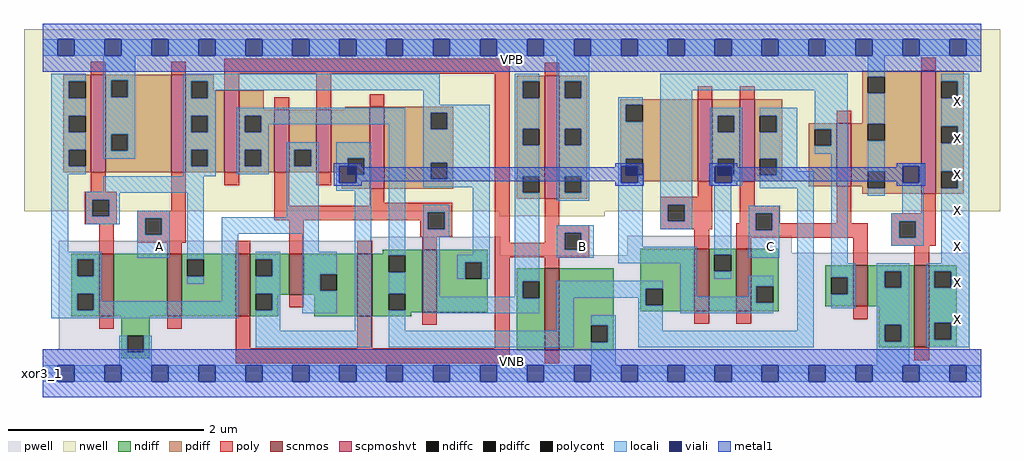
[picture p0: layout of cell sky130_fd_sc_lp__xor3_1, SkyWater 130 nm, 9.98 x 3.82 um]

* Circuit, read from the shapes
.subckt sky130_fd_sc_lp__xor3_1 A B C VGND VNB VPB VPWR X
XM1 VGND n1 n2 VNB sky130_fd_pr__nfet_01v8 w=0.64 l=0.15
XM2 n1 A VGND VNB sky130_fd_pr__nfet_01v8 w=0.64 l=0.15
XM3 n3 B n1 VNB sky130_fd_pr__nfet_01v8 w=0.64 l=0.15
XM4 n2 n4 n3 VNB sky130_fd_pr__nfet_01v8 w=0.42 l=0.15
XM5 n5 B n2 VNB sky130_fd_pr__nfet_01v8 w=0.64 l=0.15
XM6 n1 n4 n5 VNB sky130_fd_pr__nfet_01v8 w=0.64 l=0.15
XM7 VGND B n4 VNB sky130_fd_pr__nfet_01v8 w=0.84 l=0.15
XM8 n6 n7 n5 VNB sky130_fd_pr__nfet_01v8 w=0.64 l=0.15
XM9 n3 C n6 VNB sky130_fd_pr__nfet_01v8 w=0.64 l=0.15
XM10 VGND C n7 VNB sky130_fd_pr__nfet_01v8 w=0.42 l=0.15
XM11 X n6 VGND VNB sky130_fd_pr__nfet_01v8 w=0.84 l=0.15
XM12 VPWR n1 n2 VPB sky130_fd_pr__pfet_01v8_hvt w=1 l=0.15
XM13 n1 A VPWR VPB sky130_fd_pr__pfet_01v8_hvt w=1 l=0.15
XM14 n5 B n1 VPB sky130_fd_pr__pfet_01v8_hvt w=0.84 l=0.15
XM15 n2 n4 n5 VPB sky130_fd_pr__pfet_01v8_hvt w=0.64 l=0.15
XM16 n3 B n2 VPB sky130_fd_pr__pfet_01v8_hvt w=0.64 l=0.15
XM17 n1 n4 n3 VPB sky130_fd_pr__pfet_01v8_hvt w=0.84 l=0.15
XM18 VPWR B n4 VPB sky130_fd_pr__pfet_01v8_hvt w=1.26 l=0.15
XM19 n6 n7 n3 VPB sky130_fd_pr__pfet_01v8_hvt w=0.84 l=0.15
XM20 n5 C n6 VPB sky130_fd_pr__pfet_01v8_hvt w=0.84 l=0.15
XM21 VPWR C n7 VPB sky130_fd_pr__pfet_01v8_hvt w=0.64 l=0.15
XM22 X n6 VPWR VPB sky130_fd_pr__pfet_01v8_hvt w=1.26 l=0.15
.ends

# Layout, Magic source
magic
tech sky130A
magscale 1 2
<< nwell >>
rect -38 331 1958 704
rect 934 321 1150 331
<< pwell >>
rect 670 271 936 279
rect 33 241 936 271
rect 1196 247 1532 281
rect 1196 241 1896 247
rect 33 49 1896 241
rect 0 0 1920 49
<< scnmos >>
rect 116 117 146 245
rect 255 117 285 245
rect 395 117 425 245
rect 504 161 534 245
rect 644 117 674 245
rect 776 125 806 253
rect 1027 47 1057 215
rect 1333 127 1363 255
rect 1419 127 1449 255
rect 1658 137 1688 221
rect 1783 53 1813 221
<< scpmoshvt >>
rect 99 411 129 611
rect 263 411 293 611
rect 372 411 402 579
rect 474 411 504 539
rect 560 411 590 539
rect 669 377 699 545
rect 1027 357 1057 609
rect 1340 393 1370 561
rect 1426 393 1456 561
rect 1624 383 1654 511
rect 1797 367 1827 619
<< ndiff >>
rect 696 245 776 253
rect 59 233 116 245
rect 59 199 71 233
rect 105 199 116 233
rect 59 163 116 199
rect 59 129 71 163
rect 105 129 116 163
rect 59 117 116 129
rect 146 117 255 245
rect 285 233 395 245
rect 285 199 296 233
rect 330 199 395 233
rect 285 117 395 199
rect 425 233 504 245
rect 425 199 436 233
rect 470 199 504 233
rect 425 163 504 199
rect 425 129 436 163
rect 470 161 504 163
rect 534 203 644 245
rect 534 169 568 203
rect 602 169 644 203
rect 534 161 644 169
rect 470 129 482 161
rect 425 117 482 129
rect 556 117 644 161
rect 674 241 776 245
rect 674 207 708 241
rect 742 207 776 241
rect 674 163 776 207
rect 674 129 708 163
rect 742 129 776 163
rect 674 125 776 129
rect 806 227 910 253
rect 806 193 864 227
rect 898 193 910 227
rect 806 125 910 193
rect 674 117 754 125
rect 161 77 219 117
rect 161 43 173 77
rect 207 43 219 77
rect 161 31 219 43
rect 970 188 1027 215
rect 970 154 982 188
rect 1016 154 1027 188
rect 970 47 1027 154
rect 1057 98 1168 215
rect 1222 173 1333 255
rect 1222 139 1234 173
rect 1268 139 1333 173
rect 1222 127 1333 139
rect 1363 243 1419 255
rect 1363 209 1374 243
rect 1408 209 1419 243
rect 1363 127 1419 209
rect 1449 178 1506 255
rect 1449 144 1460 178
rect 1494 144 1506 178
rect 1449 127 1506 144
rect 1601 196 1658 221
rect 1601 162 1613 196
rect 1647 162 1658 196
rect 1601 137 1658 162
rect 1688 209 1783 221
rect 1688 175 1722 209
rect 1756 175 1783 209
rect 1688 137 1783 175
rect 1057 64 1122 98
rect 1156 64 1168 98
rect 1057 47 1168 64
rect 1710 99 1783 137
rect 1710 65 1722 99
rect 1756 65 1783 99
rect 1710 53 1783 65
rect 1813 209 1870 221
rect 1813 175 1824 209
rect 1858 175 1870 209
rect 1813 103 1870 175
rect 1813 69 1824 103
rect 1858 69 1870 103
rect 1813 53 1870 69
<< pdiff >>
rect 42 597 99 611
rect 42 563 54 597
rect 88 563 99 597
rect 42 527 99 563
rect 42 493 54 527
rect 88 493 99 527
rect 42 457 99 493
rect 42 423 54 457
rect 88 423 99 457
rect 42 411 99 423
rect 129 599 263 611
rect 129 565 140 599
rect 174 565 263 599
rect 129 489 263 565
rect 129 455 140 489
rect 174 455 263 489
rect 129 411 263 455
rect 293 597 350 611
rect 293 563 304 597
rect 338 579 350 597
rect 338 563 372 579
rect 293 527 372 563
rect 293 493 304 527
rect 338 493 372 527
rect 293 457 372 493
rect 293 423 304 457
rect 338 423 372 457
rect 293 411 372 423
rect 402 539 452 579
rect 619 539 669 545
rect 402 527 474 539
rect 402 493 413 527
rect 447 493 474 527
rect 402 457 474 493
rect 402 423 413 457
rect 447 423 474 457
rect 402 411 474 423
rect 504 457 560 539
rect 504 423 515 457
rect 549 423 560 457
rect 504 411 560 423
rect 590 440 669 539
rect 590 411 624 440
rect 612 406 624 411
rect 658 406 669 440
rect 612 377 669 406
rect 699 533 840 545
rect 699 499 794 533
rect 828 499 840 533
rect 699 431 840 499
rect 699 397 794 431
rect 828 397 840 431
rect 699 377 840 397
rect 970 597 1027 609
rect 970 563 982 597
rect 1016 563 1027 597
rect 970 500 1027 563
rect 970 466 982 500
rect 1016 466 1027 500
rect 970 403 1027 466
rect 970 369 982 403
rect 1016 369 1027 403
rect 970 357 1027 369
rect 1057 597 1114 609
rect 1057 563 1068 597
rect 1102 563 1114 597
rect 1676 607 1797 619
rect 1057 500 1114 563
rect 1676 573 1688 607
rect 1722 573 1797 607
rect 1057 466 1068 500
rect 1102 466 1114 500
rect 1057 403 1114 466
rect 1057 369 1068 403
rect 1102 369 1114 403
rect 1181 549 1340 561
rect 1181 515 1193 549
rect 1227 515 1340 549
rect 1181 439 1340 515
rect 1181 405 1193 439
rect 1227 405 1340 439
rect 1181 393 1340 405
rect 1370 527 1426 561
rect 1370 493 1381 527
rect 1415 493 1426 527
rect 1370 439 1426 493
rect 1370 405 1381 439
rect 1415 405 1426 439
rect 1370 393 1426 405
rect 1456 527 1513 561
rect 1456 493 1467 527
rect 1501 493 1513 527
rect 1676 511 1797 573
rect 1456 439 1513 493
rect 1456 405 1467 439
rect 1501 405 1513 439
rect 1456 393 1513 405
rect 1567 499 1624 511
rect 1567 465 1579 499
rect 1613 465 1624 499
rect 1057 357 1114 369
rect 1567 383 1624 465
rect 1654 510 1797 511
rect 1654 476 1688 510
rect 1722 476 1797 510
rect 1654 413 1797 476
rect 1654 383 1688 413
rect 1676 379 1688 383
rect 1722 379 1797 413
rect 1676 367 1797 379
rect 1827 597 1884 619
rect 1827 563 1838 597
rect 1872 563 1884 597
rect 1827 505 1884 563
rect 1827 471 1838 505
rect 1872 471 1884 505
rect 1827 413 1884 471
rect 1827 379 1838 413
rect 1872 379 1884 413
rect 1827 367 1884 379
<< ndiffc >>
rect 71 199 105 233
rect 71 129 105 163
rect 296 199 330 233
rect 436 199 470 233
rect 436 129 470 163
rect 568 169 602 203
rect 708 207 742 241
rect 708 129 742 163
rect 864 193 898 227
rect 173 43 207 77
rect 982 154 1016 188
rect 1234 139 1268 173
rect 1374 209 1408 243
rect 1460 144 1494 178
rect 1613 162 1647 196
rect 1722 175 1756 209
rect 1122 64 1156 98
rect 1722 65 1756 99
rect 1824 175 1858 209
rect 1824 69 1858 103
<< pdiffc >>
rect 54 563 88 597
rect 54 493 88 527
rect 54 423 88 457
rect 140 565 174 599
rect 140 455 174 489
rect 304 563 338 597
rect 304 493 338 527
rect 304 423 338 457
rect 413 493 447 527
rect 413 423 447 457
rect 515 423 549 457
rect 624 406 658 440
rect 794 499 828 533
rect 794 397 828 431
rect 982 563 1016 597
rect 982 466 1016 500
rect 982 369 1016 403
rect 1068 563 1102 597
rect 1688 573 1722 607
rect 1068 466 1102 500
rect 1068 369 1102 403
rect 1193 515 1227 549
rect 1193 405 1227 439
rect 1381 493 1415 527
rect 1381 405 1415 439
rect 1467 493 1501 527
rect 1467 405 1501 439
rect 1579 465 1613 499
rect 1688 476 1722 510
rect 1688 379 1722 413
rect 1838 563 1872 597
rect 1838 471 1872 505
rect 1838 379 1872 413
<< poly >>
rect 99 611 129 637
rect 263 611 293 637
rect 372 613 955 643
rect 372 579 402 613
rect 474 539 504 565
rect 560 539 590 613
rect 669 545 699 571
rect 99 371 129 411
rect 86 355 152 371
rect 86 321 102 355
rect 136 321 152 355
rect 263 333 293 411
rect 372 385 402 411
rect 86 305 152 321
rect 194 317 293 333
rect 116 245 146 305
rect 194 283 210 317
rect 244 283 293 317
rect 474 343 504 411
rect 560 385 590 411
rect 669 349 699 377
rect 669 343 838 349
rect 474 329 838 343
rect 474 313 788 329
rect 194 267 293 283
rect 255 245 285 267
rect 395 245 425 271
rect 504 245 534 313
rect 772 295 788 313
rect 822 295 838 329
rect 772 279 838 295
rect 644 245 674 271
rect 776 253 806 279
rect 925 267 955 613
rect 1027 609 1057 635
rect 1797 619 1827 645
rect 1340 561 1370 587
rect 1426 561 1456 587
rect 1624 511 1654 537
rect 1340 361 1370 393
rect 1027 303 1057 357
rect 1263 345 1370 361
rect 1263 311 1279 345
rect 1313 311 1370 345
rect 1027 287 1118 303
rect 1263 295 1370 311
rect 1426 343 1456 393
rect 1426 327 1508 343
rect 1426 307 1458 327
rect 1027 267 1068 287
rect 925 253 1068 267
rect 1102 253 1118 287
rect 1333 255 1363 295
rect 1419 293 1458 307
rect 1492 307 1508 327
rect 1624 307 1654 383
rect 1797 327 1827 367
rect 1736 311 1827 327
rect 1492 293 1688 307
rect 1419 277 1688 293
rect 1419 255 1449 277
rect 504 135 534 161
rect 925 237 1118 253
rect 116 91 146 117
rect 255 91 285 117
rect 395 51 425 117
rect 644 51 674 117
rect 776 99 806 125
rect 925 51 955 237
rect 1027 215 1057 237
rect 395 21 955 51
rect 1658 221 1688 277
rect 1736 277 1752 311
rect 1786 277 1827 311
rect 1736 261 1827 277
rect 1783 221 1813 261
rect 1333 101 1363 127
rect 1419 101 1449 127
rect 1658 111 1688 137
rect 1027 21 1057 47
rect 1783 27 1813 53
<< polycont >>
rect 102 321 136 355
rect 210 283 244 317
rect 788 295 822 329
rect 1279 311 1313 345
rect 1068 253 1102 287
rect 1458 293 1492 327
rect 1752 277 1786 311
<< locali >>
rect 0 649 31 683
rect 65 649 127 683
rect 161 649 223 683
rect 257 649 319 683
rect 353 649 415 683
rect 449 649 511 683
rect 545 649 607 683
rect 641 649 703 683
rect 737 649 799 683
rect 833 649 895 683
rect 929 649 991 683
rect 1025 649 1087 683
rect 1121 649 1183 683
rect 1217 649 1279 683
rect 1313 649 1375 683
rect 1409 649 1471 683
rect 1505 649 1567 683
rect 1601 649 1663 683
rect 1697 649 1759 683
rect 1793 649 1855 683
rect 1889 649 1920 683
rect 18 597 88 613
rect 18 563 54 597
rect 18 527 88 563
rect 18 493 54 527
rect 18 457 88 493
rect 18 423 54 457
rect 124 599 190 649
rect 124 565 140 599
rect 174 565 190 599
rect 124 489 190 565
rect 124 455 140 489
rect 174 455 190 489
rect 124 439 190 455
rect 288 597 812 613
rect 288 563 304 597
rect 338 579 812 597
rect 338 563 354 579
rect 288 527 354 563
rect 778 549 812 579
rect 966 597 1016 613
rect 966 563 982 597
rect 288 493 304 527
rect 338 493 354 527
rect 288 457 354 493
rect 18 407 88 423
rect 288 423 304 457
rect 338 423 354 457
rect 18 249 52 407
rect 288 403 354 423
rect 397 527 742 543
rect 397 493 413 527
rect 447 509 742 527
rect 447 493 463 509
rect 397 457 463 493
rect 397 423 413 457
rect 447 423 463 457
rect 397 407 463 423
rect 499 457 565 473
rect 499 423 515 457
rect 549 423 565 457
rect 124 371 330 403
rect 88 369 330 371
rect 88 355 158 369
rect 88 321 102 355
rect 136 321 158 355
rect 88 305 158 321
rect 194 317 260 333
rect 194 283 210 317
rect 244 283 260 317
rect 18 233 121 249
rect 194 236 260 283
rect 18 199 71 233
rect 105 199 121 233
rect 18 163 121 199
rect 296 233 330 369
rect 499 319 565 423
rect 601 440 672 473
rect 601 424 624 440
rect 601 390 607 424
rect 658 406 672 440
rect 641 390 672 406
rect 601 373 672 390
rect 296 183 330 199
rect 366 285 565 319
rect 18 129 71 163
rect 105 147 121 163
rect 366 147 400 285
rect 531 249 565 285
rect 105 129 400 147
rect 18 113 400 129
rect 436 233 486 249
rect 470 199 486 233
rect 436 163 486 199
rect 470 129 486 163
rect 436 87 486 129
rect 531 203 602 249
rect 531 169 568 203
rect 531 123 602 169
rect 638 87 672 373
rect 157 43 173 77
rect 207 43 223 77
rect 436 53 672 87
rect 708 241 742 509
rect 778 533 914 549
rect 778 499 794 533
rect 828 499 914 533
rect 778 431 914 499
rect 778 397 794 431
rect 828 397 914 431
rect 778 381 914 397
rect 708 163 742 207
rect 708 87 742 129
rect 778 329 832 345
rect 778 295 788 329
rect 822 295 832 329
rect 778 279 832 295
rect 778 157 812 279
rect 880 243 914 381
rect 848 227 914 243
rect 848 193 864 227
rect 898 193 914 227
rect 966 500 1016 563
rect 966 466 982 500
rect 966 403 1016 466
rect 966 369 982 403
rect 966 188 1016 369
rect 1052 597 1118 649
rect 1052 563 1068 597
rect 1102 563 1118 597
rect 1263 579 1647 613
rect 1052 500 1118 563
rect 1052 466 1068 500
rect 1102 466 1118 500
rect 1052 403 1118 466
rect 1052 369 1068 403
rect 1102 369 1118 403
rect 1052 353 1118 369
rect 1177 549 1227 565
rect 1177 515 1193 549
rect 1177 439 1227 515
rect 1177 424 1193 439
rect 1177 390 1183 424
rect 1217 390 1227 405
rect 1052 287 1127 303
rect 1052 253 1068 287
rect 1102 253 1127 287
rect 1052 236 1127 253
rect 1177 259 1227 390
rect 1263 345 1329 579
rect 1365 527 1431 543
rect 1365 493 1381 527
rect 1415 493 1431 527
rect 1365 439 1431 493
rect 1365 424 1381 439
rect 1365 390 1375 424
rect 1415 405 1431 439
rect 1409 390 1431 405
rect 1365 384 1431 390
rect 1467 527 1543 543
rect 1501 493 1543 527
rect 1467 439 1543 493
rect 1579 499 1647 579
rect 1613 465 1647 499
rect 1579 449 1647 465
rect 1501 413 1543 439
rect 1501 405 1577 413
rect 1263 311 1279 345
rect 1313 311 1329 345
rect 1263 295 1329 311
rect 1177 225 1338 259
rect 966 157 982 188
rect 778 154 982 157
rect 778 123 1016 154
rect 1052 173 1268 189
rect 1052 155 1234 173
rect 1052 87 1086 155
rect 1218 139 1234 155
rect 708 53 1086 87
rect 1122 98 1172 119
rect 1156 64 1172 98
rect 157 17 223 43
rect 1122 17 1172 64
rect 1218 87 1268 139
rect 1304 157 1338 225
rect 1374 243 1408 384
rect 1467 379 1577 405
rect 1444 327 1507 343
rect 1444 293 1458 327
rect 1492 293 1507 327
rect 1444 236 1507 293
rect 1374 193 1408 209
rect 1444 178 1494 200
rect 1444 157 1460 178
rect 1304 144 1460 157
rect 1304 123 1494 144
rect 1543 87 1577 379
rect 1613 225 1647 449
rect 1688 607 1722 649
rect 1688 510 1722 573
rect 1688 413 1722 476
rect 1838 597 1895 613
rect 1872 563 1895 597
rect 1838 505 1895 563
rect 1872 471 1895 505
rect 1688 363 1722 379
rect 1758 424 1802 430
rect 1758 390 1759 424
rect 1793 390 1802 424
rect 1758 327 1802 390
rect 1736 311 1802 327
rect 1736 277 1752 311
rect 1786 277 1802 311
rect 1736 261 1802 277
rect 1838 413 1895 471
rect 1872 379 1895 413
rect 1838 225 1895 379
rect 1613 196 1663 225
rect 1647 162 1663 196
rect 1613 133 1663 162
rect 1706 209 1772 225
rect 1706 175 1722 209
rect 1756 175 1772 209
rect 1218 53 1577 87
rect 1706 99 1772 175
rect 1706 65 1722 99
rect 1756 65 1772 99
rect 1706 17 1772 65
rect 1808 209 1895 225
rect 1808 175 1824 209
rect 1858 175 1895 209
rect 1808 103 1895 175
rect 1808 69 1824 103
rect 1858 69 1895 103
rect 1808 53 1895 69
rect 0 -17 31 17
rect 65 -17 127 17
rect 161 -17 223 17
rect 257 -17 319 17
rect 353 -17 415 17
rect 449 -17 511 17
rect 545 -17 607 17
rect 641 -17 703 17
rect 737 -17 799 17
rect 833 -17 895 17
rect 929 -17 991 17
rect 1025 -17 1087 17
rect 1121 -17 1183 17
rect 1217 -17 1279 17
rect 1313 -17 1375 17
rect 1409 -17 1471 17
rect 1505 -17 1567 17
rect 1601 -17 1663 17
rect 1697 -17 1759 17
rect 1793 -17 1855 17
rect 1889 -17 1920 17
<< viali >>
rect 31 649 65 683
rect 127 649 161 683
rect 223 649 257 683
rect 319 649 353 683
rect 415 649 449 683
rect 511 649 545 683
rect 607 649 641 683
rect 703 649 737 683
rect 799 649 833 683
rect 895 649 929 683
rect 991 649 1025 683
rect 1087 649 1121 683
rect 1183 649 1217 683
rect 1279 649 1313 683
rect 1375 649 1409 683
rect 1471 649 1505 683
rect 1567 649 1601 683
rect 1663 649 1697 683
rect 1759 649 1793 683
rect 1855 649 1889 683
rect 607 406 624 424
rect 624 406 641 424
rect 607 390 641 406
rect 1183 405 1193 424
rect 1193 405 1217 424
rect 1183 390 1217 405
rect 1375 405 1381 424
rect 1381 405 1409 424
rect 1375 390 1409 405
rect 1759 390 1793 424
rect 31 -17 65 17
rect 127 -17 161 17
rect 223 -17 257 17
rect 319 -17 353 17
rect 415 -17 449 17
rect 511 -17 545 17
rect 607 -17 641 17
rect 703 -17 737 17
rect 799 -17 833 17
rect 895 -17 929 17
rect 991 -17 1025 17
rect 1087 -17 1121 17
rect 1183 -17 1217 17
rect 1279 -17 1313 17
rect 1375 -17 1409 17
rect 1471 -17 1505 17
rect 1567 -17 1601 17
rect 1663 -17 1697 17
rect 1759 -17 1793 17
rect 1855 -17 1889 17
<< metal1 >>
rect 0 683 1920 715
rect 0 649 31 683
rect 65 649 127 683
rect 161 649 223 683
rect 257 649 319 683
rect 353 649 415 683
rect 449 649 511 683
rect 545 649 607 683
rect 641 649 703 683
rect 737 649 799 683
rect 833 649 895 683
rect 929 649 991 683
rect 1025 649 1087 683
rect 1121 649 1183 683
rect 1217 649 1279 683
rect 1313 649 1375 683
rect 1409 649 1471 683
rect 1505 649 1567 683
rect 1601 649 1663 683
rect 1697 649 1759 683
rect 1793 649 1855 683
rect 1889 649 1920 683
rect 0 617 1920 649
rect 595 424 653 430
rect 595 390 607 424
rect 641 421 653 424
rect 1171 424 1229 430
rect 1171 421 1183 424
rect 641 393 1183 421
rect 641 390 653 393
rect 595 384 653 390
rect 1171 390 1183 393
rect 1217 390 1229 424
rect 1171 384 1229 390
rect 1363 424 1421 430
rect 1363 390 1375 424
rect 1409 421 1421 424
rect 1747 424 1805 430
rect 1747 421 1759 424
rect 1409 393 1759 421
rect 1409 390 1421 393
rect 1363 384 1421 390
rect 1747 390 1759 393
rect 1793 390 1805 424
rect 1747 384 1805 390
rect 0 17 1920 49
rect 0 -17 31 17
rect 65 -17 127 17
rect 161 -17 223 17
rect 257 -17 319 17
rect 353 -17 415 17
rect 449 -17 511 17
rect 545 -17 607 17
rect 641 -17 703 17
rect 737 -17 799 17
rect 833 -17 895 17
rect 929 -17 991 17
rect 1025 -17 1087 17
rect 1121 -17 1183 17
rect 1217 -17 1279 17
rect 1313 -17 1375 17
rect 1409 -17 1471 17
rect 1505 -17 1567 17
rect 1601 -17 1663 17
rect 1697 -17 1759 17
rect 1793 -17 1855 17
rect 1889 -17 1920 17
rect 0 -49 1920 -17
<< labels >>
flabel pwell s 0 0 1920 49 0 FreeSans 200 0 0 0 VNB
port 5 nsew ground bidirectional
flabel nwell s 0 617 1920 666 0 FreeSans 200 0 0 0 VPB
port 6 nsew power bidirectional
rlabel comment s 0 0 0 0 4 xor3_1
flabel metal1 s 0 617 1920 666 0 FreeSans 340 0 0 0 VPWR
port 7 nsew power bidirectional
flabel metal1 s 0 0 1920 49 0 FreeSans 340 0 0 0 VGND
port 4 nsew ground bidirectional
flabel locali s 1855 94 1889 128 0 FreeSans 340 0 0 0 X
port 8 nsew signal output
flabel locali s 1855 168 1889 202 0 FreeSans 340 0 0 0 X
port 8 nsew signal output
flabel locali s 1855 242 1889 276 0 FreeSans 340 0 0 0 X
port 8 nsew signal output
flabel locali s 1855 316 1889 350 0 FreeSans 340 0 0 0 X
port 8 nsew signal output
flabel locali s 1855 390 1889 424 0 FreeSans 340 0 0 0 X
port 8 nsew signal output
flabel locali s 1855 464 1889 498 0 FreeSans 340 0 0 0 X
port 8 nsew signal output
flabel locali s 1855 538 1889 572 0 FreeSans 340 0 0 0 X
port 8 nsew signal output
flabel locali s 223 242 257 276 0 FreeSans 340 0 0 0 A
port 1 nsew signal input
flabel locali s 1471 242 1505 276 0 FreeSans 340 0 0 0 C
port 3 nsew signal input
flabel locali s 1087 242 1121 276 0 FreeSans 340 0 0 0 B
port 2 nsew signal input
<< properties >>
string LEFsite unit
string LEFclass CORE
string FIXED_BBOX 0 0 1920 666
string GDS_FILE $PDKPATH/libs.ref/sky130_fd_sc_lp/gds/sky130_fd_sc_lp.gds
string LEFsymmetry X Y R90
string GDS_END 4783324
string GDS_START 4769684
<< end >>
